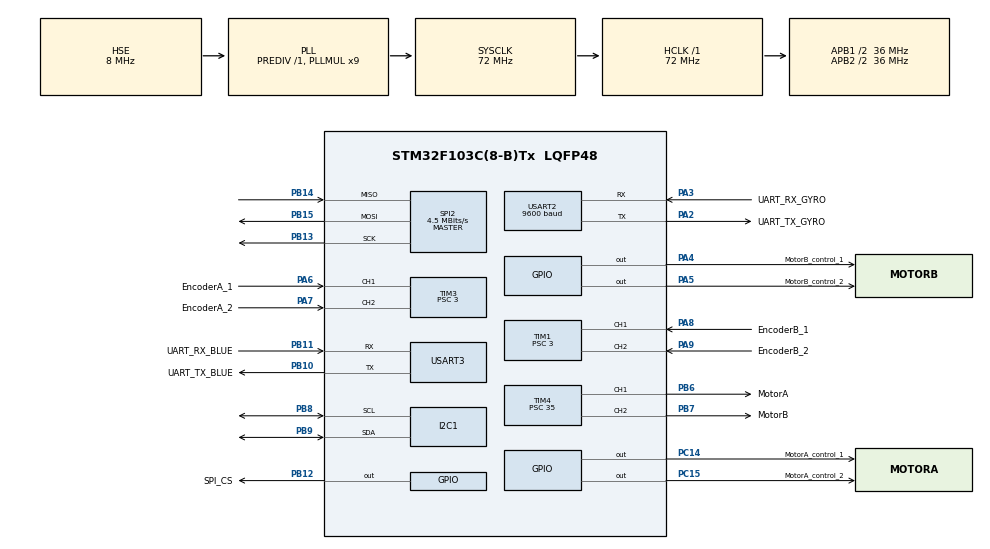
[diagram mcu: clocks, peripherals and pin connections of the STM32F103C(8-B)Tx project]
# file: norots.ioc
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Dma.Request0=SPI2_RX
Dma.Request1=SPI2_TX
Dma.SPI2_RX.0.Direction=DMA_PERIPH_TO_MEMORY
Dma.SPI2_RX.0.Instance=DMA1_Channel4
Dma.SPI2_RX.0.MemDataAlignment=DMA_MDATAALIGN_BYTE
Dma.SPI2_RX.0.MemInc=DMA_MINC_ENABLE
Dma.SPI2_RX.0.Mode=DMA_NORMAL
Dma.SPI2_RX.0.PeriphDataAlignment=DMA_PDATAALIGN_BYTE
Dma.SPI2_RX.0.PeriphInc=DMA_PINC_DISABLE
Dma.SPI2_RX.0.Priority=DMA_PRIORITY_LOW
Dma.SPI2_TX.1.Direction=DMA_MEMORY_TO_PERIPH
Dma.SPI2_TX.1.Instance=DMA1_Channel5
Dma.SPI2_TX.1.MemDataAlignment=DMA_MDATAALIGN_BYTE
Dma.SPI2_TX.1.MemInc=DMA_MINC_ENABLE
Dma.SPI2_TX.1.Mode=DMA_NORMAL
Dma.SPI2_TX.1.PeriphDataAlignment=DMA_PDATAALIGN_BYTE
Dma.SPI2_TX.1.PeriphInc=DMA_PINC_DISABLE
Dma.SPI2_TX.1.Priority=DMA_PRIORITY_LOW
I2C1.I2C_Mode=I2C_Fast
Mcu.Family=STM32F1
Mcu.Name=STM32F103C(8-B)Tx
Mcu.Package=LQFP48
NVIC.DMA1_Channel4_IRQn=true\:0\:0\:false\:false\:true\:false\:true\:true
NVIC.DMA1_Channel5_IRQn=true\:0\:0\:false\:false\:true\:false\:true\:true
NVIC.PriorityGroup=NVIC_PRIORITYGROUP_4
NVIC.TIM2_IRQn=true\:1\:0\:true\:false\:true\:true\:true\:true
NVIC.TIM3_IRQn=true\:0\:0\:false\:false\:true\:true\:true\:true
NVIC.USART2_IRQn=true\:0\:0\:false\:false\:true\:true\:true\:true
NVIC.USART3_IRQn=true\:0\:0\:true\:false\:true\:true\:true\:true
PA13.Mode=Serial_Wire
PA13.Signal=SYS_JTMS-SWDIO
PA14.Mode=Serial_Wire
PA14.Signal=SYS_JTCK-SWCLK
PA2.GPIO_Label=UART_TX_GYRO
PA2.Mode=Asynchronous
PA2.Signal=USART2_TX
PA3.GPIO_Label=UART_RX_GYRO
PA3.Mode=Asynchronous
PA3.Signal=USART2_RX
PA4.GPIO_Label=MotorB_control_1
PA4.Signal=GPIO_Output
PA5.GPIO_Label=MotorB_control_2
PA5.Signal=GPIO_Output
PA6.GPIO_Label=EncoderA_1
PA6.Signal=S_TIM3_CH1
PA7.GPIO_Label=EncoderA_2
PA7.Signal=S_TIM3_CH2
PA8.GPIO_Label=EncoderB_1
PA8.Signal=S_TIM1_CH1
PA9.GPIO_Label=EncoderB_2
PA9.Signal=S_TIM1_CH2
PB10.GPIO_Label=UART_TX_BLUE
PB10.Mode=Asynchronous
PB10.Signal=USART3_TX
PB11.GPIO_Label=UART_RX_BLUE
PB11.Mode=Asynchronous
PB11.Signal=USART3_RX
PB12.GPIO_Label=SPI_CS
PB12.GPIO_PuPd=GPIO_NOPULL
PB12.GPIO_Speed=GPIO_SPEED_FREQ_HIGH
PB12.PinState=GPIO_PIN_SET
PB12.Signal=GPIO_Output
PB13.Mode=Full_Duplex_Master
PB13.Signal=SPI2_SCK
PB14.Mode=Full_Duplex_Master
PB14.Signal=SPI2_MISO
PB15.Mode=Full_Duplex_Master
PB15.Signal=SPI2_MOSI
PB6.GPIO_Label=MotorA
PB6.GPIO_Speed=GPIO_SPEED_FREQ_MEDIUM
PB6.Signal=S_TIM4_CH1
PB7.GPIO_Label=MotorB
PB7.GPIO_Speed=GPIO_SPEED_FREQ_MEDIUM
PB7.Signal=S_TIM4_CH2
PB8.Mode=I2C
PB8.Signal=I2C1_SCL
PB9.Mode=I2C
PB9.Signal=I2C1_SDA
PC14-OSC32_IN.GPIO_Label=MotorA_control_1
PC14-OSC32_IN.Signal=GPIO_Output
PC15-OSC32_OUT.GPIO_Label=MotorA_control_2
PC15-OSC32_OUT.Signal=GPIO_Output
PD0-OSC_IN.Mode=HSE-External-Oscillator
PD0-OSC_IN.Signal=RCC_OSC_IN
PD1-OSC_OUT.Mode=HSE-External-Oscillator
PD1-OSC_OUT.Signal=RCC_OSC_OUT
ProjectManager.HeapSize=0x200
ProjectManager.StackSize=0x400
ProjectManager.TargetToolchain=CMake
RCC.AHBFreq_Value=72000000
RCC.APB1CLKDivider=RCC_HCLK_DIV2
RCC.APB1Freq_Value=36000000
RCC.APB1TimFreq_Value=72000000
RCC.APB2CLKDivider=RCC_HCLK_DIV2
RCC.APB2Freq_Value=36000000
RCC.APB2TimFreq_Value=72000000
RCC.HCLKFreq_Value=72000000
RCC.PLLMUL=RCC_PLL_MUL9
RCC.PLLSourceVirtual=RCC_PLLSOURCE_HSE
RCC.SYSCLKFreq_VALUE=72000000
RCC.SYSCLKSource=RCC_SYSCLKSOURCE_PLLCLK
RCC.USBFreq_Value=72000000
SH.S_TIM1_CH1.0=TIM1_CH1,Encoder_Interface
SH.S_TIM1_CH2.0=TIM1_CH2,Encoder_Interface
SH.S_TIM3_CH1.0=TIM3_CH1,Encoder_Interface
SH.S_TIM3_CH2.0=TIM3_CH2,Encoder_Interface
SH.S_TIM4_CH1.0=TIM4_CH1,PWM Generation1 CH1
SH.S_TIM4_CH2.0=TIM4_CH2,PWM Generation2 CH2
SPI2.BaudRatePrescaler=SPI_BAUDRATEPRESCALER_8
SPI2.CLKPhase=SPI_PHASE_2EDGE
SPI2.CLKPolarity=SPI_POLARITY_HIGH
SPI2.CalculateBaudRate=4.5 MBits/s
SPI2.Direction=SPI_DIRECTION_2LINES
SPI2.Mode=SPI_MODE_MASTER
SPI2.VirtualType=VM_MASTER
TIM1.EncoderMode=TIM_ENCODERMODE_TI12
TIM1.Prescaler=3
TIM2.Period=99
TIM2.Prescaler=719
TIM3.EncoderMode=TIM_ENCODERMODE_TI12
TIM3.Prescaler=3
TIM4.Channel-PWM\ Generation1\ CH1=TIM_CHANNEL_1
TIM4.Channel-PWM\ Generation2\ CH2=TIM_CHANNEL_2
TIM4.Period=999
TIM4.Prescaler=35
USART2.BaudRate=9600
USART2.VirtualMode=VM_ASYNC
USART3.VirtualMode=VM_ASYNC
VP_TIM2_VS_ClockSourceINT.Mode=Internal
board=custom

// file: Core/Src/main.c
/* USER CODE BEGIN Header */
/**
 ******************************************************************************
 * @file           : main.c
 * @brief          : Main program body
 ******************************************************************************
 * @attention
 *
 * Copyright (c) 2025 STMicroelectronics.
 * All rights reserved.
 *
 * This software is licensed under terms that can be found in the LICENSE file
 * in the root directory of this software component.
 * If no LICENSE file comes with this software, it is provided AS-IS.
 *
 ******************************************************************************
 */
/* USER CODE END Header */
#include "main.h"
#include "dma.h"
#include "i2c.h"
#include "spi.h"
#include "tim.h"
#include "usart.h"
#include "gpio.h"

/* USER CODE BEGIN Includes */
#include "encoder.h"
#include "flow_decode.h"
#include "motor.h"
#include "pid_control.h"
#include "angle_control.h"
#include <stdio.h>
#include <string.h>
#include "jy61p.h"
/* USER CODE END Includes */

/* USER CODE BEGIN PV */

/* The variables about GRYO is declared here */

volatile uint8_t gyro_sample = 0; // How many seconds to read data
uint8_t g_usart2_receivedata;

/* This is the end of declaration */

/* This is the declaration of the variables of optical flow sensor */
volatile uint8_t optical_flow_sample = 0; // How many seconds to read data
/* This is the end of declaration */

/* This is the declaration of the variables of encoder data*/
extern Encoder_TypeDef encoderA;
extern Encoder_TypeDef encoderB;
volatile uint8_t encoder_sample = 0; // How many seconds to read encoder data
/* This is the end of declaration to the encoder*/

/* This is the declaration of the variables of angle PID control*/
volatile uint8_t angle_pid_sample = 0; // How many ms to update angle PID
/* This is the end of declaration to the angle PID*/

/* This is the sapce for you to declare temp variables */
volatile uint8_t pid_temp = 0;
/* This is the end of temp space */

/* USER CODE END PV */

void SystemClock_Config(void);

int main(void)
{

  /* MCU Configuration--------------------------------------------------------*/

  /* Reset of all peripherals, Initializes the Flash interface and the Systick. */
  HAL_Init();

  /* Configure the system clock */
  SystemClock_Config();

  /* Initialize all configured peripherals */
  MX_GPIO_Init();
  MX_DMA_Init();
  MX_USART3_UART_Init();
  MX_I2C1_Init();
  MX_TIM2_Init();
  MX_TIM1_Init();
  MX_TIM3_Init();
  MX_TIM4_Init();
  MX_SPI2_Init();
  MX_USART2_UART_Init();
  /* USER CODE BEGIN 2 */

  // Init uart receive
  UART_StartReceive(&huart3);
  HAL_UART_Receive_IT(&huart2, &g_usart2_receivedata, 1);
  HAL_TIM_Base_Start_IT(&htim2);

  HAL_TIM_Encoder_Start(&htim1, TIM_CHANNEL_1);
  HAL_TIM_Encoder_Start(&htim1, TIM_CHANNEL_2);
  HAL_TIM_Encoder_Start(&htim3, TIM_CHANNEL_1);
  HAL_TIM_Encoder_Start(&htim3, TIM_CHANNEL_2);
  Motor_Init();
  Encoder_Init();

  /* Init the PID control here */
  PID_Init(&pid_motor_a);
  PID_Init(&pid_motor_b);
  PID_SetSpeed(PID_MOTOR_A, 100.0f); // Set initial speed for motor A
  PID_SetSpeed(PID_MOTOR_B, 100.0f);
  /* Finish init PID control */

  /* Init the Yaw Angle PID control here */
  AngleControl_Init();
  /* Finish init Yaw Angle PID control */

  /* USER CODE END 2 */

  /* Infinite loop */
  /* USER CODE BEGIN WHILE */
  while (1)
  {
    /* This is the call to the gyroscope code function */

    if (gyro_sample >= 99) // This means that the gyroscope data is read every 100ms
    {
      // printf("Roll:%6.2f\r\n", Roll);
      // printf("Pitch:%6.2f\r\n", Pitch);
      // printf("Yaw:%6.2f\r\n", Yaw);
      gyro_sample = 0; // Reset the sample counter
    }

    /* This is the end of this function */

    /* This is the call to the function of read the data of optical flow sensor */
    if (optical_flow_sample >= 99)
    {
      static int ret;
      static unsigned char ch;
      HAL_UART_Receive(&huart2, &ch, 1, 25);
      ret = upnotof_parse_char(ch);
      if (!ret)
      {
        static int16_t flow_x_integral = 0;
        static int16_t flow_y_integral = 0;
        static uint8_t valid = 0;
        flow_x_integral = up_flow_data.flow_x_integral;
        flow_y_integral = up_flow_data.flow_y_integral;
        valid = up_flow_data.valid;
        printf("flow_x_integral=%d,flow_y_integral=%d,valid=%d\n",
               flow_x_integral, flow_y_integral, valid);
      }
      optical_flow_sample = 0; // Reset the sample counter
    }
    /* This is the end of this function */

    /* This is the function to print encoder data */

    if (encoder_sample >= 19)
    {
      Encoder_Update(&encoderA, encoder_sample + 1); // Put into the sample time(ms)
      Encoder_Update(&encoderB, encoder_sample + 1);

      PID_Update();
      // 打印编码器数�?
      printf("EncoderA:%0.2f,", encoderA.speed_rpm);
      printf("EncoderB:%0.2f\r\n", encoderB.speed_rpm);
      encoder_sample = 0;
    }

    /* This is the end of encoder print function */

    /* This is the space for you to pile up your test code */
    // if (pid_temp % 14999 == 0)
    // {
    //   static float test_speeds[] = {0, 50, 100, -50, -100};
    //   static uint8_t speed_index = 0;

    //   float target_speed = test_speeds[speed_index];
    //   PID_SetSpeed(PID_MOTOR_A, target_speed);
    //   PID_SetSpeed(PID_MOTOR_B, target_speed);

    //   speed_index = (speed_index + 1) % 5;
    //   pid_temp = 0; // Reset temp counter
    // }
    /* This is the end of your garbage space */
  }
    /* USER CODE END WHILE */

}

void SystemClock_Config(void)
{
  RCC_OscInitTypeDef RCC_OscInitStruct = {0};
  RCC_ClkInitTypeDef RCC_ClkInitStruct = {0};

  /** Initializes the RCC Oscillators according to the specified parameters
  * in the RCC_OscInitTypeDef structure.
  */
  RCC_OscInitStruct.OscillatorType = RCC_OSCILLATORTYPE_HSE;
  RCC_OscInitStruct.HSEState = RCC_HSE_ON;
  RCC_OscInitStruct.HSEPredivValue = RCC_HSE_PREDIV_DIV1;
  RCC_OscInitStruct.HSIState = RCC_HSI_ON;
  RCC_OscInitStruct.PLL.PLLState = RCC_PLL_ON;
  RCC_OscInitStruct.PLL.PLLSource = RCC_PLLSOURCE_HSE;
  RCC_OscInitStruct.PLL.PLLMUL = RCC_PLL_MUL9;
  if (HAL_RCC_OscConfig(&RCC_OscInitStruct) != HAL_OK)
  {
    Error_Handler();
  }

  /** Initializes the CPU, AHB and APB buses clocks
  */
  RCC_ClkInitStruct.ClockType = RCC_CLOCKTYPE_HCLK|RCC_CLOCKTYPE_SYSCLK
                              |RCC_CLOCKTYPE_PCLK1|RCC_CLOCKTYPE_PCLK2;
  RCC_ClkInitStruct.SYSCLKSource = RCC_SYSCLKSOURCE_PLLCLK;
  RCC_ClkInitStruct.AHBCLKDivider = RCC_SYSCLK_DIV1;
  RCC_ClkInitStruct.APB1CLKDivider = RCC_HCLK_DIV2;
  RCC_ClkInitStruct.APB2CLKDivider = RCC_HCLK_DIV2;

  if (HAL_RCC_ClockConfig(&RCC_ClkInitStruct, FLASH_LATENCY_2) != HAL_OK)
  {
    Error_Handler();
  }
}

/* USER CODE BEGIN 4 */

/* Timer interruption is created here. Don't delete it!!! */
void HAL_TIM_PeriodElapsedCallback(TIM_HandleTypeDef *htim)
{
  // All Timed Tasks Need to be marked here!!!
  if (htim == &htim2)
  {
    if (optical_flow_sample < 99)
    {
      optical_flow_sample = 0;
    }
    if (gyro_sample < 99)
    {
      gyro_sample++;
    }
    if (encoder_sample < 19)
    {
      encoder_sample++;
    }
    if (angle_pid_sample < 19) // Update angle PID every 20ms (50Hz)
    {
      angle_pid_sample = 0;
    }
    /* This is the space for your temp variables */
    if (pid_temp < 15000)
    {
      pid_temp++;
    }
    /* End of temp */
  }
}
/* Don't Move This Code!!! */

/* USER CODE END 4 */

void Error_Handler(void)
{
  __disable_irq();
  while (1)
  {
  }
}

#ifdef  USE_FULL_ASSERT
/**
  * @brief  Reports the name of the source file and the source line number
  *         where the assert_param error has occurred.
  * @param  file: pointer to the source file name
  * @param  line: assert_param error line source number
  * @retval None
  */
void assert_failed(uint8_t *file, uint32_t line)
{
  /* USER CODE BEGIN 6 */
  /* User can add his own implementation to report the file name and line
     number, ex: printf("Wrong parameters value: file %s on line %d\r\n", file,
     line) */
  /* USER CODE END 6 */
}
#endif /* USE_FULL_ASSERT */
